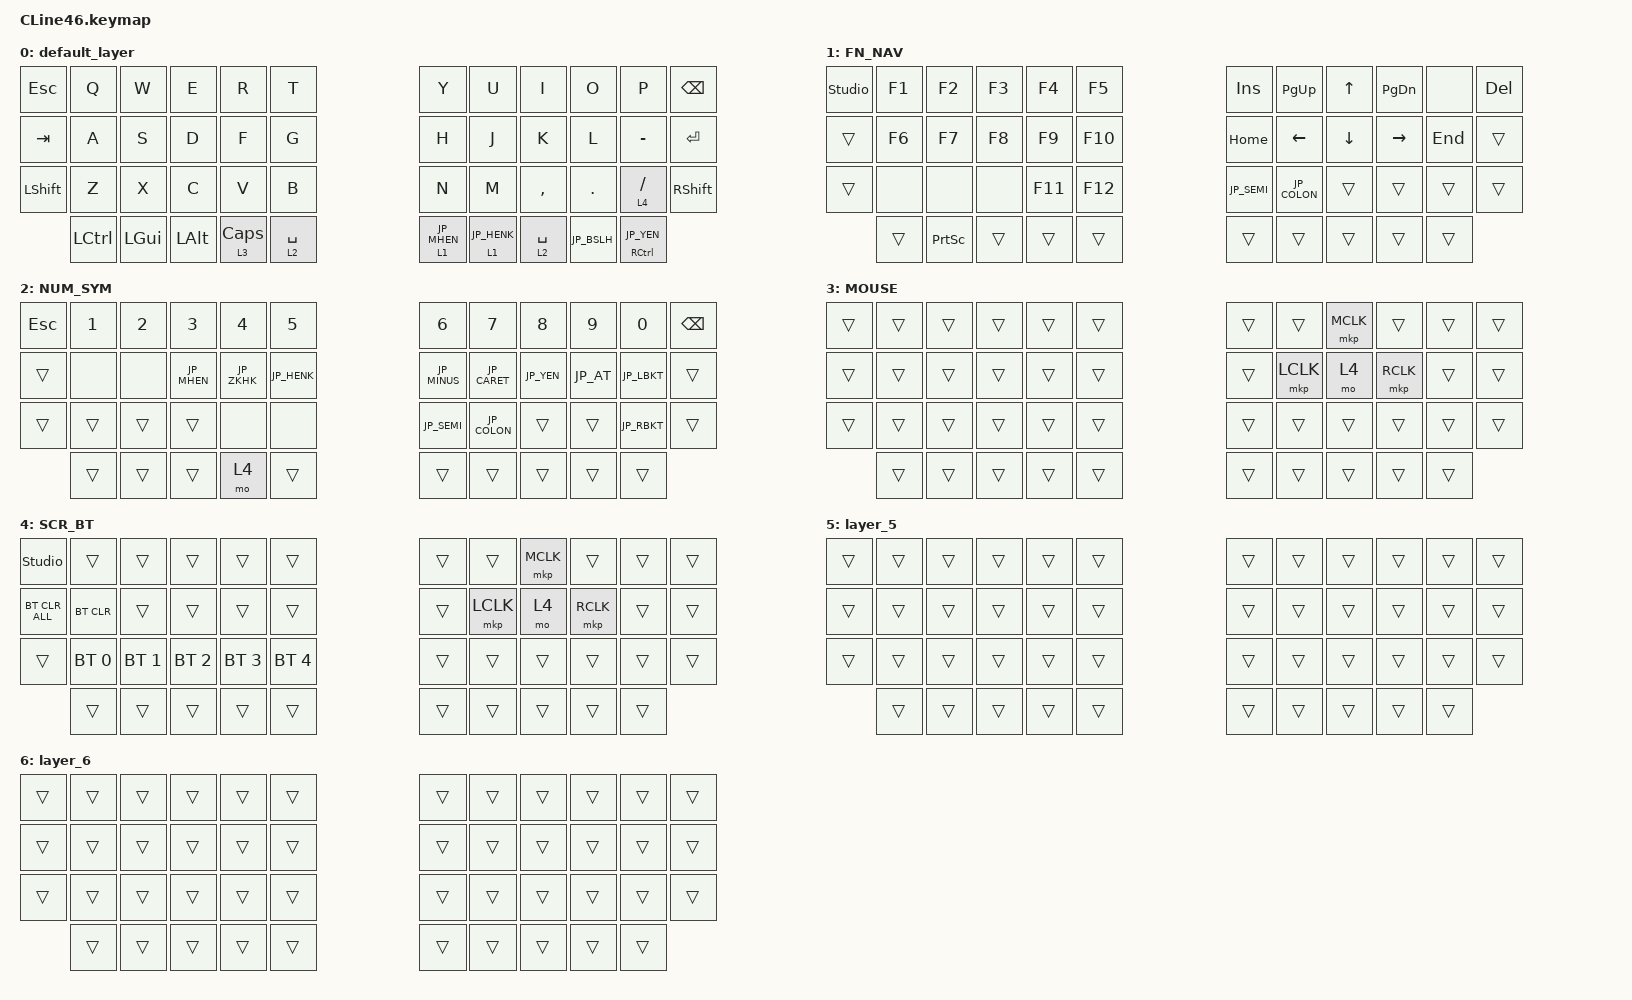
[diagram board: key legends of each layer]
#include <input/processors.dtsi>
#include <dt-bindings/zmk/input_transform.h>
#include <zephyr/dt-bindings/input/input-event-codes.h>
#include <behaviors.dtsi>
#include <behaviors/runtime_macro.dtsi>
#include <dt-bindings/zmk/bt.h>
#include <dt-bindings/zmk/keys.h>
#include <dt-bindings/zmk/pointing.h>
#include "keycode_japanese.h"

&mt {
    flavor = "balanced";
    quick-tap-ms = <0>;
};

/ {
    combos {
        compatible = "zmk,combos";

        COMBO_SCROLL {
            bindings = <&mo 4>;
            key-positions = <41 40>;
        };
        COMBO_ZENHAN {
            bindings = <&kp JP_ZKHK>;
            key-positions = <25 26>;
        };
    };

    macros {
        to_layer_0: to_layer_0 {
            compatible = "zmk,behavior-macro-one-param";
            #binding-cells = <1>;
            bindings = <&to 0 &macro_param_1to1 &kp MACRO_PLACEHOLDER>;
            label = "TO_LAYER_0";
        };
    };

    behaviors {
        lt_to_layer_0: lt_to_layer_0 {
            compatible = "zmk,behavior-hold-tap";
            label = "LAYER_TAP_TO_0";
            bindings = <&mo>, <&to_layer_0>;

            #binding-cells = <2>;
            tapping-term-ms = <200>;
        };
    };

    keymap {
        compatible = "zmk,keymap";

        default_layer {
            bindings = <
&kp ESCAPE  &kp Q             &kp W     &kp E     &kp R           &kp T                                             &kp Y        &kp U  &kp I      &kp O         &kp P                      &kp BACKSPACE
&kp TAB     &kp A             &kp S     &kp D     &kp F           &kp G                                             &kp H        &kp J  &kp K      &kp L         &kp MINUS                  &kp ENTER
&kp LSHIFT  &kp Z             &kp X     &kp C     &kp V           &kp B                                             &kp N        &kp M  &kp COMMA  &kp DOT       &lt 4 SLASH                &kp RSHIFT
            &kp LEFT_CONTROL  &kp LGUI  &kp LALT  &lt 3 CAPSLOCK  &lt 2 SPACE  &lt 1 JP_MHEN         &lt 1 JP_HENK  &lt 2 SPACE                    &kp JP_BSLH   &mt RIGHT_CONTROL JP_YEN
            >;
        };

        FN_NAV {
            bindings = <
&studio_unlock  &kp F1  &kp F2           &kp F3  &kp F4   &kp F5                     &kp INS        &kp PG_UP     &kp UP    &kp PAGE_DOWN  &none    &kp DELETE
&trans          &kp F6  &kp F7           &kp F8  &kp F9   &kp F10                    &kp HOME       &kp LEFT      &kp DOWN  &kp RIGHT      &kp END  &trans
&trans          &none   &none            &none   &kp F11  &kp F12                    &kp JP_SEMI    &kp JP_COLON  &trans    &trans         &trans   &trans
                &trans  &kp PRINTSCREEN  &trans  &trans   &trans   &trans    &trans  &trans                              &trans         &trans
            >;
        };

        NUM_SYM {
            bindings = <
&kp ESCAPE  &kp NUMBER_1  &kp NUMBER_2  &kp NUMBER_3      &kp NUMBER_4             &kp NUMBER_5                      &kp NUMBER_6   &kp NUMBER_7  &kp NUMBER_8  &kp NUMBER_9  &kp NUMBER_0     &kp BACKSPACE
&trans      &none         &none         &kp JP_MHEN       &kp JP_ZKHK              &kp JP_HENK                       &kp JP_MINUS   &kp JP_CARET  &kp JP_YEN    &kp JP_AT     &kp JP_LBKT      &trans
&trans      &trans        &trans        &trans            &none                    &none                             &kp JP_SEMI    &kp JP_COLON  &trans        &trans        &kp JP_RBKT      &trans
            &trans        &trans        &trans            &mo 4                    &trans          &trans    &trans  &trans                                     &trans        &trans
            >;
        };

        MOUSE {
            bindings = <
&trans  &trans  &trans  &trans  &trans  &trans                    &trans  &trans     &mkp MCLK  &trans     &trans  &trans
&trans  &trans  &trans  &trans  &trans  &trans                    &trans  &mkp LCLK  &mo 4      &mkp RCLK  &trans  &trans
&trans  &trans  &trans  &trans  &trans  &trans                    &trans  &trans     &trans     &trans     &trans  &trans
        &trans  &trans  &trans  &trans  &trans  &trans    &trans  &trans                        &trans     &trans
            >;
        };

        SCR_BT {
            bindings = <
&studio_unlock  &trans        &trans        &trans        &trans        &trans                          &trans  &trans     &mkp MCLK  &trans     &trans  &trans
&bt BT_CLR_ALL  &bt BT_CLR    &trans        &trans        &trans        &trans                          &trans  &mkp LCLK  &mo 4      &mkp RCLK  &trans  &trans
&trans          &bt BT_SEL 0  &bt BT_SEL 1  &bt BT_SEL 2  &bt BT_SEL 3  &bt BT_SEL 4                    &trans  &trans     &trans     &trans     &trans  &trans
                &trans        &trans        &trans        &trans        &trans        &trans    &trans  &trans                        &trans     &trans
            >;
        };

        layer_5 {
            bindings = <
&trans  &trans  &trans  &trans  &trans  &trans                    &trans  &trans  &trans  &trans  &trans  &trans
&trans  &trans  &trans  &trans  &trans  &trans                    &trans  &trans  &trans  &trans  &trans  &trans
&trans  &trans  &trans  &trans  &trans  &trans                    &trans  &trans  &trans  &trans  &trans  &trans
        &trans  &trans  &trans  &trans  &trans  &trans    &trans  &trans                  &trans  &trans
            >;
        };

        layer_6 {
            bindings = <
&trans  &trans  &trans  &trans  &trans  &trans                    &trans  &trans  &trans  &trans  &trans  &trans
&trans  &trans  &trans  &trans  &trans  &trans                    &trans  &trans  &trans  &trans  &trans  &trans
&trans  &trans  &trans  &trans  &trans  &trans                    &trans  &trans  &trans  &trans  &trans  &trans
        &trans  &trans  &trans  &trans  &trans  &trans    &trans  &trans                  &trans  &trans
            >;
        };
    };
};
